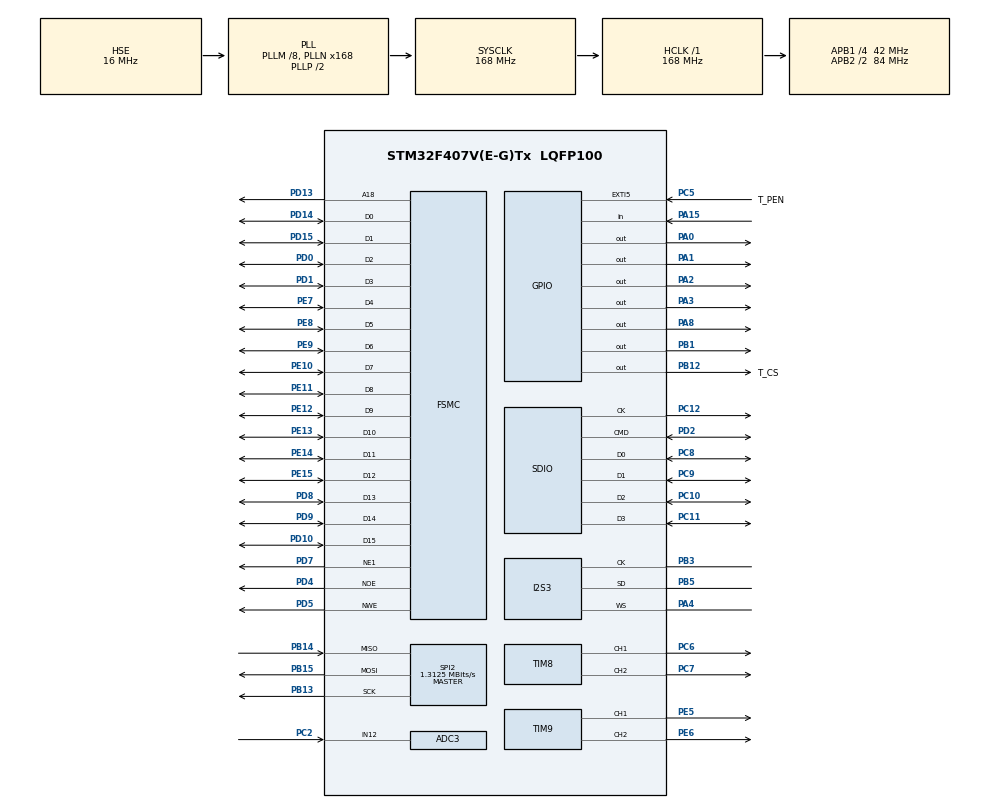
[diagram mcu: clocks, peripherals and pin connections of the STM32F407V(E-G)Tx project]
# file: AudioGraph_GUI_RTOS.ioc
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ADC3.Channel-7\#ChannelRegularConversion=ADC_CHANNEL_12
ADC3.NbrOfConversionFlag=1
ADC3.Rank-7\#ChannelRegularConversion=1
ADC3.SamplingTime-7\#ChannelRegularConversion=ADC_SAMPLETIME_3CYCLES
Dma.Request0=SPI3_TX
Dma.Request1=SDIO_RX
Dma.Request2=SDIO_TX
Dma.SDIO_RX.1.Direction=DMA_PERIPH_TO_MEMORY
Dma.SDIO_RX.1.FIFOMode=DMA_FIFOMODE_ENABLE
Dma.SDIO_RX.1.FIFOThreshold=DMA_FIFO_THRESHOLD_FULL
Dma.SDIO_RX.1.Instance=DMA2_Stream3
Dma.SDIO_RX.1.MemBurst=DMA_MBURST_INC4
Dma.SDIO_RX.1.MemDataAlignment=DMA_MDATAALIGN_WORD
Dma.SDIO_RX.1.MemInc=DMA_MINC_ENABLE
Dma.SDIO_RX.1.Mode=DMA_PFCTRL
Dma.SDIO_RX.1.PeriphBurst=DMA_PBURST_INC4
Dma.SDIO_RX.1.PeriphDataAlignment=DMA_PDATAALIGN_WORD
Dma.SDIO_RX.1.PeriphInc=DMA_PINC_DISABLE
Dma.SDIO_RX.1.Priority=DMA_PRIORITY_LOW
Dma.SDIO_TX.2.Direction=DMA_MEMORY_TO_PERIPH
Dma.SDIO_TX.2.FIFOMode=DMA_FIFOMODE_ENABLE
Dma.SDIO_TX.2.FIFOThreshold=DMA_FIFO_THRESHOLD_FULL
Dma.SDIO_TX.2.Instance=DMA2_Stream6
Dma.SDIO_TX.2.MemBurst=DMA_MBURST_INC4
Dma.SDIO_TX.2.MemDataAlignment=DMA_MDATAALIGN_WORD
Dma.SDIO_TX.2.MemInc=DMA_MINC_ENABLE
Dma.SDIO_TX.2.Mode=DMA_PFCTRL
Dma.SDIO_TX.2.PeriphBurst=DMA_PBURST_INC4
Dma.SDIO_TX.2.PeriphDataAlignment=DMA_PDATAALIGN_WORD
Dma.SDIO_TX.2.PeriphInc=DMA_PINC_DISABLE
Dma.SDIO_TX.2.Priority=DMA_PRIORITY_LOW
Dma.SPI3_TX.0.Direction=DMA_MEMORY_TO_PERIPH
Dma.SPI3_TX.0.FIFOMode=DMA_FIFOMODE_DISABLE
Dma.SPI3_TX.0.Instance=DMA1_Stream5
Dma.SPI3_TX.0.MemDataAlignment=DMA_MDATAALIGN_HALFWORD
Dma.SPI3_TX.0.MemInc=DMA_MINC_ENABLE
Dma.SPI3_TX.0.Mode=DMA_CIRCULAR
Dma.SPI3_TX.0.PeriphDataAlignment=DMA_PDATAALIGN_HALFWORD
Dma.SPI3_TX.0.PeriphInc=DMA_PINC_DISABLE
Dma.SPI3_TX.0.Priority=DMA_PRIORITY_VERY_HIGH
FATFS.USE_DMA_CODE_SD=1
FREERTOS.Queues01=audioCommandQueue,16,uint16_t,0,Dynamic,NULL,NULL;guiUpdateQueue,16,uint16_t,0,Dynamic,NULL,NULL
FREERTOS.Tasks01=GUITask,32,2048,StartGUITask,Default,NULL,Dynamic,NULL,NULL;AudioTask,40,512,StartAudioTask,Default,NULL,Dynamic,NULL,NULL;VolumeTask,16,128,StartVolumeTask,Default,NULL,Dynamic,NULL,NULL
FREERTOS.configENABLE_FPU=1
FSMC.AddressSetupTime1=6
FSMC.BusTurnAroundDuration1=15
FSMC.DataSetupTime1=4
FSMC.ExtendedMode1=FSMC_EXTENDED_MODE_DISABLE
I2S3.AudioFreq=I2S_AUDIOFREQ_96K
I2S3.CPOL=I2S_CPOL_LOW
I2S3.ErrorAudioFreq=0.15 %
I2S3.FullDuplexMode=I2S_FULLDUPLEXMODE_DISABLE
I2S3.Instance=SPI$Index
I2S3.RealAudioFreq=96.153 KHz
I2S3.VirtualMode=I2S_MODE_MASTER
Mcu.Family=STM32F4
Mcu.Name=STM32F407V(E-G)Tx
Mcu.Package=LQFP100
NVIC.DMA1_Stream5_IRQn=true\:5\:0\:false\:false\:true\:true\:false\:true\:true
NVIC.DMA2_Stream3_IRQn=true\:5\:0\:true\:false\:true\:true\:false\:true\:true
NVIC.DMA2_Stream6_IRQn=true\:5\:0\:true\:false\:true\:true\:false\:true\:true
NVIC.EXTI9_5_IRQn=true\:5\:0\:false\:false\:true\:true\:true\:true\:true
NVIC.PriorityGroup=NVIC_PRIORITYGROUP_4
NVIC.SDIO_IRQn=true\:5\:0\:true\:false\:true\:true\:true\:true\:true
NVIC.TIM1_UP_TIM10_IRQn=true\:5\:0\:false\:false\:true\:true\:false\:true\:true
NVIC.TIM7_IRQn=true\:5\:0\:false\:false\:true\:true\:true\:true\:true
NVIC.TimeBase=TIM1_UP_TIM10_IRQn
NVIC.TimeBaseIP=TIM1
PA0-WKUP.GPIO_Speed=GPIO_SPEED_FREQ_HIGH
PA0-WKUP.PinState=GPIO_PIN_SET
PA0-WKUP.Signal=GPIO_Output
PA1.GPIO_Speed=GPIO_SPEED_FREQ_HIGH
PA1.PinState=GPIO_PIN_SET
PA1.Signal=GPIO_Output
PA13.Mode=Serial_Wire
PA13.Signal=SYS_JTMS-SWDIO
PA14.Mode=Serial_Wire
PA14.Signal=SYS_JTCK-SWCLK
PA15.GPIO_PuPd=GPIO_PULLUP
PA15.Signal=GPIO_Input
PA2.GPIO_Speed=GPIO_SPEED_FREQ_HIGH
PA2.PinState=GPIO_PIN_SET
PA2.Signal=GPIO_Output
PA3.GPIO_Speed=GPIO_SPEED_FREQ_HIGH
PA3.PinState=GPIO_PIN_SET
PA3.Signal=GPIO_Output
PA4.Mode=Half_Duplex_Master
PA4.Signal=I2S3_WS
PA8.GPIO_PuPd=GPIO_NOPULL
PA8.GPIO_Speed=GPIO_SPEED_FREQ_HIGH
PA8.Signal=GPIO_Output
PB1.GPIO_PuPd=GPIO_NOPULL
PB1.GPIO_Speed=GPIO_SPEED_FREQ_HIGH
PB1.Signal=GPIO_Output
PB12.GPIO_Label=T_CS
PB12.GPIO_Speed=GPIO_SPEED_FREQ_HIGH
PB12.PinState=GPIO_PIN_SET
PB12.Signal=GPIO_Output
PB13.Mode=Full_Duplex_Master
PB13.Signal=SPI2_SCK
PB14.Mode=Full_Duplex_Master
PB14.Signal=SPI2_MISO
PB15.Mode=Full_Duplex_Master
PB15.Signal=SPI2_MOSI
PB3.Mode=Half_Duplex_Master
PB3.Signal=I2S3_CK
PB5.Mode=Half_Duplex_Master
PB5.Signal=I2S3_SD
PC10.Mode=SD_4_bits_Wide_bus
PC10.Signal=SDIO_D2
PC11.Mode=SD_4_bits_Wide_bus
PC11.Signal=SDIO_D3
PC12.Mode=SD_4_bits_Wide_bus
PC12.Signal=SDIO_CK
PC2.Signal=ADCx_IN12
PC5.GPIO_Label=T_PEN
PC5.GPIO_ModeDefaultEXTI=GPIO_MODE_IT_FALLING
PC5.GPIO_PuPd=GPIO_PULLUP
PC5.Signal=GPXTI5
PC6.Signal=S_TIM8_CH1
PC7.Signal=S_TIM8_CH2
PC8.Mode=SD_4_bits_Wide_bus
PC8.Signal=SDIO_D0
PC9.Mode=SD_4_bits_Wide_bus
PC9.Signal=SDIO_D1
PD0.Mode=16b-d1
PD0.Signal=FSMC_D2
PD1.Mode=16b-d1
PD1.Signal=FSMC_D3
PD10.Mode=16b-d1
PD10.Signal=FSMC_D15
PD13.Mode=A18_1
PD13.Signal=FSMC_A18
PD14.Mode=16b-d1
PD14.Signal=FSMC_D0
PD15.Mode=16b-d1
PD15.Signal=FSMC_D1
PD2.Mode=SD_4_bits_Wide_bus
PD2.Signal=SDIO_CMD
PD4.Mode=Lcd1
PD4.Signal=FSMC_NOE
PD5.Mode=Lcd1
PD5.Signal=FSMC_NWE
PD7.Mode=NorPsramChipSelect1_1
PD7.Signal=FSMC_NE1
PD8.Mode=16b-d1
PD8.Signal=FSMC_D13
PD9.Mode=16b-d1
PD9.Signal=FSMC_D14
PE10.Mode=16b-d1
PE10.Signal=FSMC_D7
PE11.Mode=16b-d1
PE11.Signal=FSMC_D8
PE12.Mode=16b-d1
PE12.Signal=FSMC_D9
PE13.Mode=16b-d1
PE13.Signal=FSMC_D10
PE14.Mode=16b-d1
PE14.Signal=FSMC_D11
PE15.Mode=16b-d1
PE15.Signal=FSMC_D12
PE5.Signal=S_TIM9_CH1
PE6.Signal=S_TIM9_CH2
PE7.Mode=16b-d1
PE7.Signal=FSMC_D4
PE8.Mode=16b-d1
PE8.Signal=FSMC_D5
PE9.Mode=16b-d1
PE9.Signal=FSMC_D6
PH0-OSC_IN.Mode=HSE-External-Oscillator
PH0-OSC_IN.Signal=RCC_OSC_IN
PH1-OSC_OUT.Mode=HSE-External-Oscillator
PH1-OSC_OUT.Signal=RCC_OSC_OUT
ProjectManager.HeapSize=0x2000
ProjectManager.StackSize=0x4000
ProjectManager.TargetToolchain=STM32CubeIDE
RCC.48MHZClocksFreq_Value=48000000
RCC.AHBFreq_Value=168000000
RCC.APB1CLKDivider=RCC_HCLK_DIV4
RCC.APB1Freq_Value=42000000
RCC.APB1TimFreq_Value=84000000
RCC.APB2CLKDivider=RCC_HCLK_DIV2
RCC.APB2Freq_Value=84000000
RCC.APB2TimFreq_Value=168000000
RCC.CortexFreq_Value=168000000
RCC.HCLKFreq_Value=168000000
RCC.HSE_VALUE=16000000
RCC.HSI_VALUE=16000000
RCC.LSE_VALUE=32768
RCC.PLLI2SN=120
RCC.PLLM=8
RCC.PLLN=168
RCC.PLLQ=7
RCC.PLLSourceVirtual=RCC_PLLSOURCE_HSE
RCC.SYSCLKFreq_VALUE=168000000
RCC.SYSCLKSource=RCC_SYSCLKSOURCE_PLLCLK
RCC.VCOOutputFreq_Value=336000000
SDIO.ClockDiv=6
SH.ADCx_IN12.0=ADC3_IN12,IN12
SH.S_TIM8_CH1.0=TIM8_CH1,PWM Generation1 CH1
SH.S_TIM8_CH2.0=TIM8_CH2,PWM Generation2 CH2
SH.S_TIM9_CH1.0=TIM9_CH1,PWM Generation1 CH1
SH.S_TIM9_CH2.0=TIM9_CH2,PWM Generation2 CH2
SPI2.BaudRatePrescaler=SPI_BAUDRATEPRESCALER_32
SPI2.CalculateBaudRate=1.3125 MBits/s
SPI2.Direction=SPI_DIRECTION_2LINES
SPI2.Mode=SPI_MODE_MASTER
SPI2.VirtualType=VM_MASTER
TIM7.AutoReloadPreload=TIM_AUTORELOAD_PRELOAD_ENABLE
TIM7.Period=1000-1
TIM7.Prescaler=420-1
TIM8.Channel-PWM\ Generation1\ CH1=TIM_CHANNEL_1
TIM8.Channel-PWM\ Generation2\ CH2=TIM_CHANNEL_2
TIM9.Channel-PWM\ Generation1\ CH1=TIM_CHANNEL_1
TIM9.Channel-PWM\ Generation2\ CH2=TIM_CHANNEL_2
VP_FATFS_VS_SDIO.Mode=SDIO
VP_FREERTOS_VS_CMSIS_V2.Mode=CMSIS_V2
VP_SYS_VS_tim1.Mode=TIM1
VP_TIM7_VS_ClockSourceINT.Mode=Enable_Timer
VP_TIM8_VS_ClockSourceINT.Mode=Internal
VP_TIM9_VS_ClockSourceINT.Mode=Internal
board=custom

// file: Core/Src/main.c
/* USER CODE BEGIN Header */
/**
  ******************************************************************************
  * @file           : main.c
  * @brief          : Main program body
  ******************************************************************************
  * @attention
  *
  * Copyright (c) 2025 STMicroelectronics.
  * All rights reserved.
  *
  * This software is licensed under terms that can be found in the LICENSE file
  * in the root directory of this software component.
  * If no LICENSE file comes with this software, it is provided AS-IS.
  *
  ******************************************************************************
  */
/* USER CODE END Header */
#include "main.h"
#include "cmsis_os.h"
#include "fatfs.h"

/* USER CODE BEGIN Includes */
#include "ff.h"
#include "lcd.h"
#include "touch.h"
#include "sd_interface.h"
#include "audio.h"
#include "lvgl.h"
#include "lvgl_disp.h"
#include "music_player_gui.h"
#include "arm_math.h"
#include "motorcontrol.h"

/* USER CODE END Includes */

ADC_HandleTypeDef hadc3;

I2S_HandleTypeDef hi2s3;
DMA_HandleTypeDef hdma_spi3_tx;

SD_HandleTypeDef hsd;
DMA_HandleTypeDef hdma_sdio_rx;
DMA_HandleTypeDef hdma_sdio_tx;

SPI_HandleTypeDef hspi2;

TIM_HandleTypeDef htim7;
TIM_HandleTypeDef htim8;
TIM_HandleTypeDef htim9;

SRAM_HandleTypeDef hsram1;

/* Definitions for GUITask */
osThreadId_t GUITaskHandle;
const osThreadAttr_t GUITask_attributes = {
  .name = "GUITask",
  .stack_size = 2048 * 4,
  .priority = (osPriority_t) osPriorityAboveNormal,
};
/* Definitions for AudioTask */
osThreadId_t AudioTaskHandle;
const osThreadAttr_t AudioTask_attributes = {
  .name = "AudioTask",
  .stack_size = 512 * 4,
  .priority = (osPriority_t) osPriorityHigh,
};
/* Definitions for VolumeTask */
osThreadId_t VolumeTaskHandle;
const osThreadAttr_t VolumeTask_attributes = {
  .name = "VolumeTask",
  .stack_size = 128 * 4,
  .priority = (osPriority_t) osPriorityBelowNormal,
};
/* Definitions for audioCommandQueue */
osMessageQueueId_t audioCommandQueueHandle;
const osMessageQueueAttr_t audioCommandQueue_attributes = {
  .name = "audioCommandQueue"
};
/* Definitions for guiUpdateQueue */
osMessageQueueId_t guiUpdateQueueHandle;
const osMessageQueueAttr_t guiUpdateQueue_attributes = {
  .name = "guiUpdateQueue"
};
/* USER CODE BEGIN PV */
DIR dir;
FILINFO fno;

osSemaphoreId initCompleteSemHandle;
osSemaphoreDef(initCompleteSem);

/* USER CODE END PV */

void SystemClock_Config(void);
static void MX_GPIO_Init(void);
static void MX_DMA_Init(void);
static void MX_FSMC_Init(void);
static void MX_SDIO_SD_Init(void);
static void MX_SPI2_Init(void);
static void MX_I2S3_Init(void);
static void MX_TIM7_Init(void);
static void MX_ADC3_Init(void);
static void MX_TIM8_Init(void);
static void MX_TIM9_Init(void);
void StartGUITask(void *argument);
void StartAudioTask(void *argument);
void StartVolumeTask(void *argument);

/* USER CODE BEGIN 0 */
void HAL_I2S_TxCpltCallback(I2S_HandleTypeDef *hi2s) {
    if (hi2s->Instance == SPI3) {  // Check for your I2S instance
        audio_I2STxCpltCallback();
    }
}

void HAL_I2S_TxHalfCpltCallback(I2S_HandleTypeDef *hi2s) {
    if (hi2s->Instance == SPI3) {  // Check for your I2S instance
        audio_I2STxHalfCpltCallback();
    }
}
/* USER CODE END 0 */

int main(void)
{

  /* MCU Configuration--------------------------------------------------------*/

  /* Reset of all peripherals, Initializes the Flash interface and the Systick. */
  HAL_Init();

  /* Configure the system clock */
  SystemClock_Config();

  /* Initialize all configured peripherals */
  MX_GPIO_Init();
  MX_DMA_Init();
  MX_FSMC_Init();
  MX_SDIO_SD_Init();
  MX_SPI2_Init();
  MX_FATFS_Init();
  MX_I2S3_Init();
  MX_TIM7_Init();
  MX_ADC3_Init();
  MX_TIM8_Init();
  MX_TIM9_Init();
  /* USER CODE BEGIN 2 */
  HAL_TIM_Base_Start_IT(&htim7);
  HAL_TIM_Base_Start(&htim8);
  HAL_TIM_Base_Start(&htim9);
  LCD_Init();
  Touch_Init();
  Touch_Load_Calibration();
  if (!Touch_Is_Calibrated()) {
	  Touch_Calibrate();  // This will automatically save to flash
  }
  else {
	  LCD_Fill(LCD_COLOR_WHITE);
	  LCD_DrawString(0,0, "Touch calibrate complete", LCD_COLOR_GREEN, LCD_COLOR_WHITE);
  }
//  Touch_Calibrate();

  while(1){
	  movepx(100);
  }

  audio_init();

  /* USER CODE END 2 */

  /* Init scheduler */
  osKernelInitialize();

  /* Create the queue(s) */
  /* creation of audioCommandQueue */
  audioCommandQueueHandle = osMessageQueueNew (16, sizeof(uint16_t), &audioCommandQueue_attributes);

  /* creation of guiUpdateQueue */
  guiUpdateQueueHandle = osMessageQueueNew (16, sizeof(uint16_t), &guiUpdateQueue_attributes);

  /* USER CODE BEGIN RTOS_QUEUES */
  /* add queues, ... */
  /* creation of audioCommandQueue */
  audioCommandQueueHandle = osMessageQueueNew (10, sizeof(AudioCommand_t), &audioCommandQueue_attributes);

  /* creation of guiUpdateQueue */
  guiUpdateQueueHandle = osMessageQueueNew (16, sizeof(GuiUpdate_t), &guiUpdateQueue_attributes);
  /* USER CODE END RTOS_QUEUES */

  /* Create the thread(s) */
  /* creation of GUITask */
  GUITaskHandle = osThreadNew(StartGUITask, NULL, &GUITask_attributes);

  /* creation of AudioTask */
  AudioTaskHandle = osThreadNew(StartAudioTask, NULL, &AudioTask_attributes);

  /* creation of VolumeTask */
  VolumeTaskHandle = osThreadNew(StartVolumeTask, NULL, &VolumeTask_attributes);

  /* Start scheduler */
  osKernelStart();

  /* We should never get here as control is now taken by the scheduler */

  /* Infinite loop */
  while (1)
  {

  }
}

void SystemClock_Config(void)
{
  RCC_OscInitTypeDef RCC_OscInitStruct = {0};
  RCC_ClkInitTypeDef RCC_ClkInitStruct = {0};

  /** Configure the main internal regulator output voltage
  */
  __HAL_RCC_PWR_CLK_ENABLE();
  __HAL_PWR_VOLTAGESCALING_CONFIG(PWR_REGULATOR_VOLTAGE_SCALE1);

  /** Initializes the RCC Oscillators according to the specified parameters
  * in the RCC_OscInitTypeDef structure.
  */
  RCC_OscInitStruct.OscillatorType = RCC_OSCILLATORTYPE_HSE;
  RCC_OscInitStruct.HSEState = RCC_HSE_ON;
  RCC_OscInitStruct.PLL.PLLState = RCC_PLL_ON;
  RCC_OscInitStruct.PLL.PLLSource = RCC_PLLSOURCE_HSE;
  RCC_OscInitStruct.PLL.PLLM = 8;
  RCC_OscInitStruct.PLL.PLLN = 168;
  RCC_OscInitStruct.PLL.PLLP = RCC_PLLP_DIV2;
  RCC_OscInitStruct.PLL.PLLQ = 7;
  if (HAL_RCC_OscConfig(&RCC_OscInitStruct) != HAL_OK)
  {
    Error_Handler();
  }

  /** Initializes the CPU, AHB and APB buses clocks
  */
  RCC_ClkInitStruct.ClockType = RCC_CLOCKTYPE_HCLK|RCC_CLOCKTYPE_SYSCLK
                              |RCC_CLOCKTYPE_PCLK1|RCC_CLOCKTYPE_PCLK2;
  RCC_ClkInitStruct.SYSCLKSource = RCC_SYSCLKSOURCE_PLLCLK;
  RCC_ClkInitStruct.AHBCLKDivider = RCC_SYSCLK_DIV1;
  RCC_ClkInitStruct.APB1CLKDivider = RCC_HCLK_DIV4;
  RCC_ClkInitStruct.APB2CLKDivider = RCC_HCLK_DIV2;

  if (HAL_RCC_ClockConfig(&RCC_ClkInitStruct, FLASH_LATENCY_5) != HAL_OK)
  {
    Error_Handler();
  }
}

static void MX_ADC3_Init(void)
{

  ADC_ChannelConfTypeDef sConfig = {0};

  /** Configure the global features of the ADC (Clock, Resolution, Data Alignment and number of conversion)
  */
  hadc3.Instance = ADC3;
  hadc3.Init.ClockPrescaler = ADC_CLOCK_SYNC_PCLK_DIV4;
  hadc3.Init.Resolution = ADC_RESOLUTION_12B;
  hadc3.Init.ScanConvMode = DISABLE;
  hadc3.Init.ContinuousConvMode = DISABLE;
  hadc3.Init.DiscontinuousConvMode = DISABLE;
  hadc3.Init.ExternalTrigConvEdge = ADC_EXTERNALTRIGCONVEDGE_NONE;
  hadc3.Init.ExternalTrigConv = ADC_SOFTWARE_START;
  hadc3.Init.DataAlign = ADC_DATAALIGN_RIGHT;
  hadc3.Init.NbrOfConversion = 1;
  hadc3.Init.DMAContinuousRequests = DISABLE;
  hadc3.Init.EOCSelection = ADC_EOC_SINGLE_CONV;
  if (HAL_ADC_Init(&hadc3) != HAL_OK)
  {
    Error_Handler();
  }

  /** Configure for the selected ADC regular channel its corresponding rank in the sequencer and its sample time.
  */
  sConfig.Channel = ADC_CHANNEL_12;
  sConfig.Rank = 1;
  sConfig.SamplingTime = ADC_SAMPLETIME_3CYCLES;
  if (HAL_ADC_ConfigChannel(&hadc3, &sConfig) != HAL_OK)
  {
    Error_Handler();
  }

}

static void MX_I2S3_Init(void)
{

  hi2s3.Instance = SPI3;
  hi2s3.Init.Mode = I2S_MODE_MASTER_TX;
  hi2s3.Init.Standard = I2S_STANDARD_PHILIPS;
  hi2s3.Init.DataFormat = I2S_DATAFORMAT_16B;
  hi2s3.Init.MCLKOutput = I2S_MCLKOUTPUT_DISABLE;
  hi2s3.Init.AudioFreq = I2S_AUDIOFREQ_96K;
  hi2s3.Init.CPOL = I2S_CPOL_LOW;
  hi2s3.Init.ClockSource = I2S_CLOCK_PLL;
  hi2s3.Init.FullDuplexMode = I2S_FULLDUPLEXMODE_DISABLE;
  if (HAL_I2S_Init(&hi2s3) != HAL_OK)
  {
    Error_Handler();
  }

}

static void MX_SDIO_SD_Init(void)
{

  hsd.Instance = SDIO;
  hsd.Init.ClockEdge = SDIO_CLOCK_EDGE_RISING;
  hsd.Init.ClockBypass = SDIO_CLOCK_BYPASS_DISABLE;
  hsd.Init.ClockPowerSave = SDIO_CLOCK_POWER_SAVE_DISABLE;
  hsd.Init.BusWide = SDIO_BUS_WIDE_1B;
  hsd.Init.HardwareFlowControl = SDIO_HARDWARE_FLOW_CONTROL_DISABLE;
  hsd.Init.ClockDiv = 6;
  /* USER CODE BEGIN SDIO_Init 2 */
  if (HAL_SD_Init(&hsd) != HAL_OK)
    {
      Error_Handler();
    }
    if (HAL_SD_ConfigWideBusOperation(&hsd, SDIO_BUS_WIDE_4B) != HAL_OK)
    {
      Error_Handler();
    }

  /* USER CODE END SDIO_Init 2 */

}

static void MX_SPI2_Init(void)
{

  /* SPI2 parameter configuration*/
  hspi2.Instance = SPI2;
  hspi2.Init.Mode = SPI_MODE_MASTER;
  hspi2.Init.Direction = SPI_DIRECTION_2LINES;
  hspi2.Init.DataSize = SPI_DATASIZE_8BIT;
  hspi2.Init.CLKPolarity = SPI_POLARITY_LOW;
  hspi2.Init.CLKPhase = SPI_PHASE_1EDGE;
  hspi2.Init.NSS = SPI_NSS_SOFT;
  hspi2.Init.BaudRatePrescaler = SPI_BAUDRATEPRESCALER_32;
  hspi2.Init.FirstBit = SPI_FIRSTBIT_MSB;
  hspi2.Init.TIMode = SPI_TIMODE_DISABLE;
  hspi2.Init.CRCCalculation = SPI_CRCCALCULATION_DISABLE;
  hspi2.Init.CRCPolynomial = 10;
  if (HAL_SPI_Init(&hspi2) != HAL_OK)
  {
    Error_Handler();
  }

}

static void MX_TIM7_Init(void)
{

  TIM_MasterConfigTypeDef sMasterConfig = {0};

  htim7.Instance = TIM7;
  htim7.Init.Prescaler = 420-1;
  htim7.Init.CounterMode = TIM_COUNTERMODE_UP;
  htim7.Init.Period = 1000-1;
  htim7.Init.AutoReloadPreload = TIM_AUTORELOAD_PRELOAD_ENABLE;
  if (HAL_TIM_Base_Init(&htim7) != HAL_OK)
  {
    Error_Handler();
  }
  sMasterConfig.MasterOutputTrigger = TIM_TRGO_RESET;
  sMasterConfig.MasterSlaveMode = TIM_MASTERSLAVEMODE_DISABLE;
  if (HAL_TIMEx_MasterConfigSynchronization(&htim7, &sMasterConfig) != HAL_OK)
  {
    Error_Handler();
  }

}

static void MX_TIM8_Init(void)
{

  TIM_ClockConfigTypeDef sClockSourceConfig = {0};
  TIM_MasterConfigTypeDef sMasterConfig = {0};
  TIM_OC_InitTypeDef sConfigOC = {0};
  TIM_BreakDeadTimeConfigTypeDef sBreakDeadTimeConfig = {0};

  htim8.Instance = TIM8;
  htim8.Init.Prescaler = 0;
  htim8.Init.CounterMode = TIM_COUNTERMODE_UP;
  htim8.Init.Period = 65535;
  htim8.Init.ClockDivision = TIM_CLOCKDIVISION_DIV1;
  htim8.Init.RepetitionCounter = 0;
  htim8.Init.AutoReloadPreload = TIM_AUTORELOAD_PRELOAD_DISABLE;
  if (HAL_TIM_Base_Init(&htim8) != HAL_OK)
  {
    Error_Handler();
  }
  sClockSourceConfig.ClockSource = TIM_CLOCKSOURCE_INTERNAL;
  if (HAL_TIM_ConfigClockSource(&htim8, &sClockSourceConfig) != HAL_OK)
  {
    Error_Handler();
  }
  if (HAL_TIM_PWM_Init(&htim8) != HAL_OK)
  {
    Error_Handler();
  }
  sMasterConfig.MasterOutputTrigger = TIM_TRGO_RESET;
  sMasterConfig.MasterSlaveMode = TIM_MASTERSLAVEMODE_DISABLE;
  if (HAL_TIMEx_MasterConfigSynchronization(&htim8, &sMasterConfig) != HAL_OK)
  {
    Error_Handler();
  }
  sConfigOC.OCMode = TIM_OCMODE_PWM1;
  sConfigOC.Pulse = 0;
  sConfigOC.OCPolarity = TIM_OCPOLARITY_HIGH;
  sConfigOC.OCNPolarity = TIM_OCNPOLARITY_HIGH;
  sConfigOC.OCFastMode = TIM_OCFAST_DISABLE;
  sConfigOC.OCIdleState = TIM_OCIDLESTATE_RESET;
  sConfigOC.OCNIdleState = TIM_OCNIDLESTATE_RESET;
  if (HAL_TIM_PWM_ConfigChannel(&htim8, &sConfigOC, TIM_CHANNEL_1) != HAL_OK)
  {
    Error_Handler();
  }
  if (HAL_TIM_PWM_ConfigChannel(&htim8, &sConfigOC, TIM_CHANNEL_2) != HAL_OK)
  {
    Error_Handler();
  }
  sBreakDeadTimeConfig.OffStateRunMode = TIM_OSSR_DISABLE;
  sBreakDeadTimeConfig.OffStateIDLEMode = TIM_OSSI_DISABLE;
  sBreakDeadTimeConfig.LockLevel = TIM_LOCKLEVEL_OFF;
  sBreakDeadTimeConfig.DeadTime = 0;
  sBreakDeadTimeConfig.BreakState = TIM_BREAK_DISABLE;
  sBreakDeadTimeConfig.BreakPolarity = TIM_BREAKPOLARITY_HIGH;
  sBreakDeadTimeConfig.AutomaticOutput = TIM_AUTOMATICOUTPUT_DISABLE;
  if (HAL_TIMEx_ConfigBreakDeadTime(&htim8, &sBreakDeadTimeConfig) != HAL_OK)
  {
    Error_Handler();
  }
  HAL_TIM_MspPostInit(&htim8);

}

static void MX_TIM9_Init(void)
{

  TIM_ClockConfigTypeDef sClockSourceConfig = {0};
  TIM_OC_InitTypeDef sConfigOC = {0};

  htim9.Instance = TIM9;
  htim9.Init.Prescaler = 0;
  htim9.Init.CounterMode = TIM_COUNTERMODE_UP;
  htim9.Init.Period = 65535;
  htim9.Init.ClockDivision = TIM_CLOCKDIVISION_DIV1;
  htim9.Init.AutoReloadPreload = TIM_AUTORELOAD_PRELOAD_DISABLE;
  if (HAL_TIM_Base_Init(&htim9) != HAL_OK)
  {
    Error_Handler();
  }
  sClockSourceConfig.ClockSource = TIM_CLOCKSOURCE_INTERNAL;
  if (HAL_TIM_ConfigClockSource(&htim9, &sClockSourceConfig) != HAL_OK)
  {
    Error_Handler();
  }
  if (HAL_TIM_PWM_Init(&htim9) != HAL_OK)
  {
    Error_Handler();
  }
  sConfigOC.OCMode = TIM_OCMODE_PWM1;
  sConfigOC.Pulse = 0;
  sConfigOC.OCPolarity = TIM_OCPOLARITY_HIGH;
  sConfigOC.OCFastMode = TIM_OCFAST_DISABLE;
  if (HAL_TIM_PWM_ConfigChannel(&htim9, &sConfigOC, TIM_CHANNEL_1) != HAL_OK)
  {
    Error_Handler();
  }
  if (HAL_TIM_PWM_ConfigChannel(&htim9, &sConfigOC, TIM_CHANNEL_2) != HAL_OK)
  {
    Error_Handler();
  }
  HAL_TIM_MspPostInit(&htim9);

}

static void MX_DMA_Init(void)
{

  /* DMA controller clock enable */
  __HAL_RCC_DMA1_CLK_ENABLE();
  __HAL_RCC_DMA2_CLK_ENABLE();

  /* DMA interrupt init */
  /* DMA1_Stream5_IRQn interrupt configuration */
  HAL_NVIC_SetPriority(DMA1_Stream5_IRQn, 5, 0);
  HAL_NVIC_EnableIRQ(DMA1_Stream5_IRQn);
  /* DMA2_Stream3_IRQn interrupt configuration */
  HAL_NVIC_SetPriority(DMA2_Stream3_IRQn, 5, 0);
  HAL_NVIC_EnableIRQ(DMA2_Stream3_IRQn);
  /* DMA2_Stream6_IRQn interrupt configuration */
  HAL_NVIC_SetPriority(DMA2_Stream6_IRQn, 5, 0);
  HAL_NVIC_EnableIRQ(DMA2_Stream6_IRQn);

}

static void MX_GPIO_Init(void)
{
  GPIO_InitTypeDef GPIO_InitStruct = {0};

  /* GPIO Ports Clock Enable */
  __HAL_RCC_GPIOE_CLK_ENABLE();
  __HAL_RCC_GPIOH_CLK_ENABLE();
  __HAL_RCC_GPIOC_CLK_ENABLE();
  __HAL_RCC_GPIOA_CLK_ENABLE();
  __HAL_RCC_GPIOB_CLK_ENABLE();
  __HAL_RCC_GPIOD_CLK_ENABLE();

  /*Configure GPIO pin Output Level */
  HAL_GPIO_WritePin(GPIOA, GPIO_PIN_0|GPIO_PIN_1|GPIO_PIN_2|GPIO_PIN_3, GPIO_PIN_SET);

  /*Configure GPIO pin Output Level */
  HAL_GPIO_WritePin(GPIOB, GPIO_PIN_1, GPIO_PIN_RESET);

  /*Configure GPIO pin Output Level */
  HAL_GPIO_WritePin(T_CS_GPIO_Port, T_CS_Pin, GPIO_PIN_SET);

  /*Configure GPIO pin Output Level */
  HAL_GPIO_WritePin(GPIOA, GPIO_PIN_8, GPIO_PIN_RESET);

  /*Configure GPIO pins : PA0 PA1 PA2 PA3
                           PA8 */
  GPIO_InitStruct.Pin = GPIO_PIN_0|GPIO_PIN_1|GPIO_PIN_2|GPIO_PIN_3
                          |GPIO_PIN_8;
  GPIO_InitStruct.Mode = GPIO_MODE_OUTPUT_PP;
  GPIO_InitStruct.Pull = GPIO_NOPULL;
  GPIO_InitStruct.Speed = GPIO_SPEED_FREQ_HIGH;
  HAL_GPIO_Init(GPIOA, &GPIO_InitStruct);

  /*Configure GPIO pin : T_PEN_Pin */
  GPIO_InitStruct.Pin = T_PEN_Pin;
  GPIO_InitStruct.Mode = GPIO_MODE_IT_FALLING;
  GPIO_InitStruct.Pull = GPIO_PULLUP;
  HAL_GPIO_Init(T_PEN_GPIO_Port, &GPIO_InitStruct);

  /*Configure GPIO pins : PB1 T_CS_Pin */
  GPIO_InitStruct.Pin = GPIO_PIN_1|T_CS_Pin;
  GPIO_InitStruct.Mode = GPIO_MODE_OUTPUT_PP;
  GPIO_InitStruct.Pull = GPIO_NOPULL;
  GPIO_InitStruct.Speed = GPIO_SPEED_FREQ_HIGH;
  HAL_GPIO_Init(GPIOB, &GPIO_InitStruct);

  /*Configure GPIO pin : PA15 */
  GPIO_InitStruct.Pin = GPIO_PIN_15;
  GPIO_InitStruct.Mode = GPIO_MODE_INPUT;
  GPIO_InitStruct.Pull = GPIO_PULLUP;
  HAL_GPIO_Init(GPIOA, &GPIO_InitStruct);

  /* EXTI interrupt init*/
  HAL_NVIC_SetPriority(EXTI9_5_IRQn, 5, 0);
  HAL_NVIC_EnableIRQ(EXTI9_5_IRQn);

}

/* FSMC initialization function */
static void MX_FSMC_Init(void)
{

  FSMC_NORSRAM_TimingTypeDef Timing = {0};

  /** Perform the SRAM1 memory initialization sequence
  */
  hsram1.Instance = FSMC_NORSRAM_DEVICE;
  hsram1.Extended = FSMC_NORSRAM_EXTENDED_DEVICE;
  /* hsram1.Init */
  hsram1.Init.NSBank = FSMC_NORSRAM_BANK1;
  hsram1.Init.DataAddressMux = FSMC_DATA_ADDRESS_MUX_DISABLE;
  hsram1.Init.MemoryType = FSMC_MEMORY_TYPE_SRAM;
  hsram1.Init.MemoryDataWidth = FSMC_NORSRAM_MEM_BUS_WIDTH_16;
  hsram1.Init.BurstAccessMode = FSMC_BURST_ACCESS_MODE_DISABLE;
  hsram1.Init.WaitSignalPolarity = FSMC_WAIT_SIGNAL_POLARITY_LOW;
  hsram1.Init.WrapMode = FSMC_WRAP_MODE_DISABLE;
  hsram1.Init.WaitSignalActive = FSMC_WAIT_TIMING_BEFORE_WS;
  hsram1.Init.WriteOperation = FSMC_WRITE_OPERATION_ENABLE;
  hsram1.Init.WaitSignal = FSMC_WAIT_SIGNAL_DISABLE;
  hsram1.Init.ExtendedMode = FSMC_EXTENDED_MODE_DISABLE;
  hsram1.Init.AsynchronousWait = FSMC_ASYNCHRONOUS_WAIT_DISABLE;
  hsram1.Init.WriteBurst = FSMC_WRITE_BURST_DISABLE;
  hsram1.Init.PageSize = FSMC_PAGE_SIZE_NONE;
  /* Timing */
  Timing.AddressSetupTime = 6;
  Timing.AddressHoldTime = 15;
  Timing.DataSetupTime = 4;
  Timing.BusTurnAroundDuration = 15;
  Timing.CLKDivision = 16;
  Timing.DataLatency = 17;
  Timing.AccessMode = FSMC_ACCESS_MODE_A;
  /* ExtTiming */

  if (HAL_SRAM_Init(&hsram1, &Timing, NULL) != HAL_OK)
  {
    Error_Handler( );
  }

}

void StartGUITask(void *argument)
{
  /* USER CODE BEGIN 5 */
	printf("GUITask: Starting...\r\n");

	FRESULT res = f_mount(&SDFatFS, SDPath, 1);

	if (res == FR_OK) {
		printf("DefaultTask: SD mounted OK\r\n");
	} else {
		printf("DefaultTask: Mount failed, error %d\r\n", res);

	}

	memset(music_files, 0, sizeof(music_files));

	res = f_opendir(&dir, "/");  // Root directory
	osDelay(200);
	if (res != FR_OK) {
		while (1) { osDelay(1); }
	}

	while (num_music_files < MAX_MUSIC_FILES) {
		res = f_readdir(&dir, &fno);
		osDelay(50);
		if (res != FR_OK || fno.fname[0] == 0) break;

		if (fno.fattrib & AM_DIR) continue;

		char* ext = strrchr(fno.fname, '.');

		if (ext && (strcasecmp(ext, ".wav") == 0 || strcasecmp(ext, ".mp3") == 0)) {
			strncpy(music_files[num_music_files], fno.fname, MAX_FILENAME_LEN - 1);
			num_music_files++;
			printf("DefaultTask: Found file %s\r\n", fno.fname);
		}
	}

	if (num_music_files > 0) {
		printf("DefaultTask: Found %d music files\r\n", num_music_files);
	} else {
		printf("DefaultTask: No music files found (card empty?)\r\n");
	}

	lvgl_port_init();

	MusicPlayerGUI_Init();

  /* Infinite loop */
  for(;;)
  {
	GuiUpdate_t gui_msg;
	if (osMessageQueueGet(guiUpdateQueueHandle, &gui_msg, NULL, 0) == osOK) {
		switch (gui_msg.cmd) {
			case GUI_UPDATE_PROGRESS:
				update_progress_label(gui_msg.current_time, gui_msg.total_time);
				break;
			case GUI_UPDATE_END_OF_FILE:
				update_progress_label(gui_msg.current_time, gui_msg.total_time);
				audio_stop();

				break;
			case GUI_UPDATE_ERROR:
				break;
		}
	}
	lv_task_handler();
	osDelay(5);

  }
  /* USER CODE END 5 */
}

void StartAudioTask(void *argument)
{
  /* USER CODE BEGIN StartAudioTask */
  /* Infinite loop */

	AudioCommand_t cmd;
	bool audio_playing = false;

	osThreadSetPriority(osThreadGetId(), osPriorityNormal);

  for(;;)
  {

	if (osMessageQueueGet(audioCommandQueueHandle, &cmd, NULL, 0) == osOK) {
		LCD_DrawString(0,0, "Command Recv", LCD_COLOR_GREEN, LCD_COLOR_BLACK);

		switch(cmd.cmd) {
		case AUDIO_CMD_PLAY:
			LCD_DrawString(0,10, cmd.filename, LCD_COLOR_GREEN, LCD_COLOR_BLACK);
			if (audio_playing) {
				audio_stop();
				audio_playing = false;
			}
			FIL file_temp;
			WAV_Format_t wav_temp;

			if (SD_OpenFile(cmd.filename, &file_temp) != FR_OK) {
				printf("AudioTask: Open failed: %s\r\n", cmd.filename);
				break;
			}

			if (audio_ParseWAVHeader(&file_temp, &wav_temp) != FR_OK) {
				printf("AudioTask: Invalid WAV header: %s\r\n", cmd.filename);
				f_close(&file_temp);
				break;
			}

			if (wav_temp.bits_per_sample != 16 || wav_temp.channels != 2) {
				printf("AudioTask: Unsupported format %d-bit %d-ch\r\n",
						wav_temp.bits_per_sample, wav_temp.channels);
				f_close(&file_temp);
				break;
			}

			audio_play(&file_temp, &wav_temp);
			audio_playing = true;
			break;

		case AUDIO_CMD_STOP:
			audio_stop();
			audio_playing = false;
			break;

		case AUDIO_CMD_PAUSE:
			audio_pause();
			audio_playing = false;
			break;

		case AUDIO_CMD_RESUME:
			audio_resume();
			audio_playing = true;
			break;

		case AUDIO_CMD_START_DRAW:
			LCD_DrawString(0, 20, "Starting waveform plot", LCD_COLOR_YELLOW, LCD_COLOR_BLACK);
			if (audio_playing) {
				audio_stop();
				audio_playing = false;
			}

			FIL draw_file;
			WAV_Format_t wav_draw;

			if (SD_OpenFile(cmd.filename, &draw_file) != FR_OK) {
				printf("AudioTask: Open failed for drawing: %s\r\n", cmd.filename);
				LCD_DrawString(0, 30, "File open failed", LCD_COLOR_RED, LCD_COLOR_BLACK);
				break;
			}

			if (audio_ParseWAVHeader(&draw_file, &wav_draw) != FR_OK) {
				printf("AudioTask: Invalid WAV header for drawing: %s\r\n", cmd.filename);
				LCD_DrawString(0, 30, "Invalid WAV file", LCD_COLOR_RED, LCD_COLOR_BLACK);
				f_close(&draw_file);
				break;
			}

			audio_start_drawing();
			break;

		case AUDIO_CMD_STOP_DRAW:
			LCD_DrawString(0, 20, "Stopping waveform plot", LCD_COLOR_YELLOW, LCD_COLOR_BLACK);

			audio_stop_drawing();

			LCD_DrawString(0, 30, "Plot stopped", LCD_COLOR_GREEN, LCD_COLOR_BLACK);
			break;

		}
		osThreadSetPriority(osThreadGetId(), audio_playing ? osPriorityHigh : osPriorityNormal);
	}
	audio_update();

	if (!audio_playing) {
		osDelay(10);
	}
  }
  /* USER CODE END StartAudioTask */
}

void StartVolumeTask(void *argument)
{
  /* USER CODE BEGIN StartVolumeTask */
  /* Infinite loop */
  for(;;)
  {
	  update_volume_from_adc();
	  osDelay(50);
  }
  /* USER CODE END StartVolumeTask */
}

void HAL_TIM_PeriodElapsedCallback(TIM_HandleTypeDef *htim)
{
  if (htim->Instance == TIM1)
  {
    HAL_IncTick();
  }
  /* USER CODE BEGIN Callback 1 */
  if (htim->Instance == TIM7) {
	  lv_tick_inc(5);
  }

  /* USER CODE END Callback 1 */
}

void Error_Handler(void)
{
  __disable_irq();
  while (1)
  {
  }
}
